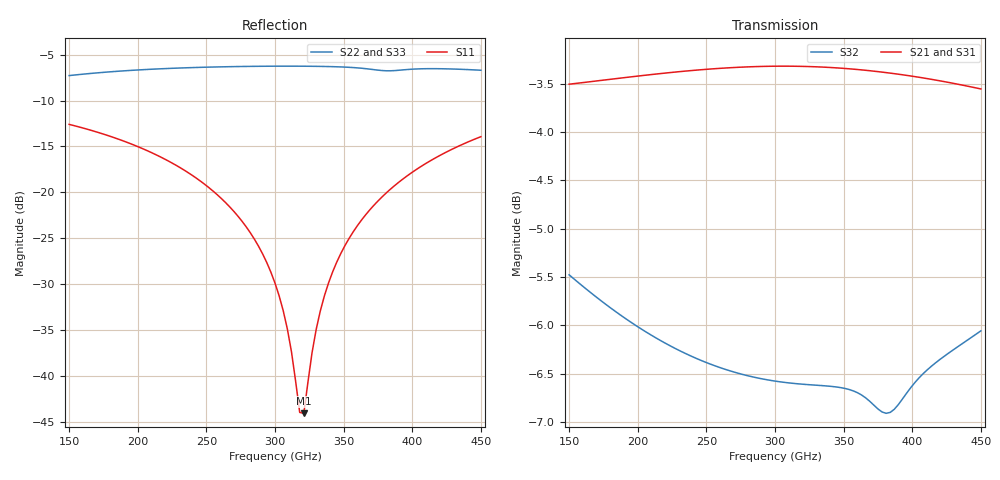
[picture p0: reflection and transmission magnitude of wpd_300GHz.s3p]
#  GHZ S DB R 50
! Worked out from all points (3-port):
!   101 points, 150 GHz to 450 GHz, reference 50 ohm
!   strongest paths, dB at 150 GHz, 225 GHz, 300 GHz, 375 GHz, 450 GHz:
!     S21: -3.5, -3.4, -3.3, -3.4, -3.6
!     S31: -3.5, -3.4, -3.3, -3.4, -3.6
!     S32: -5.5, -6.2, -6.6, -6.9, -6.1
!   lowest |S11| = -44.1 dB at 321 GHz (marker M1), VSWR 1.01, Z = 49.4 - j0.17 ohm
!   |S11| at or under -10 dB: start of sweep to end of sweep
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150  -12.60 136.3  -3.50 -43.3  -3.51 -43.3
     -3.50 -43.3  -7.28 54.3  -5.48 -95.0
     -3.51 -43.3  -5.48 -95.0  -7.28 54.3
249  -19.16 108.8  -3.35 -73.0  -3.35 -73.0
     -3.35 -73.0  -6.37 13.0  -6.38 -148.7
     -3.35 -73.0  -6.38 -148.7  -6.37 13.0
300  -29.90 100.8  -3.32 -88.7  -3.32 -88.7
     -3.32 -88.7  -6.26 -4.2  -6.58 -175.5
     -3.32 -88.7  -6.58 -175.5  -6.26 -4.2
309  -34.90 106.4  -3.32 -91.5  -3.32 -91.5
     -3.32 -91.5  -6.26 -7.1  -6.60 179.7
     -3.32 -91.5  -6.60 179.7  -6.26 -7.1
318  -44.00 151.4  -3.32 -94.3  -3.32 -94.3
     -3.32 -94.3  -6.26 -10.0  -6.61 174.9
     -3.32 -94.3  -6.61 174.9  -6.26 -10.1
321  -44.10 -164.0  -3.32 -95.2  -3.32 -95.2
     -3.32 -95.2  -6.26 -11.0  -6.61 173.3
     -3.32 -95.2  -6.61 173.3  -6.26 -11.0
336  -31.29 -112.8  -3.33 -99.9  -3.33 -99.9
     -3.33 -99.9  -6.29 -15.9  -6.63 165.3
     -3.33 -99.9  -6.63 165.3  -6.29 -16.0
357  -24.31 -112.4  -3.35 -106.5  -3.35 -106.5
     -3.35 -106.5  -6.41 -23.0  -6.68 153.8
     -3.35 -106.5  -6.68 153.8  -6.41 -23.0
396  -18.24 -121.4  -3.41 -118.6  -3.42 -118.6
     -3.41 -118.6  -6.63 -32.8  -6.70 135.9
     -3.42 -118.6  -6.70 135.9  -6.62 -32.8
450  -13.94 -136.4  -3.55 -135.1  -3.56 -135.1
     -3.55 -135.1  -6.70 -53.3  -6.06 106.1
     -3.56 -135.1  -6.06 106.1  -6.70 -53.3
